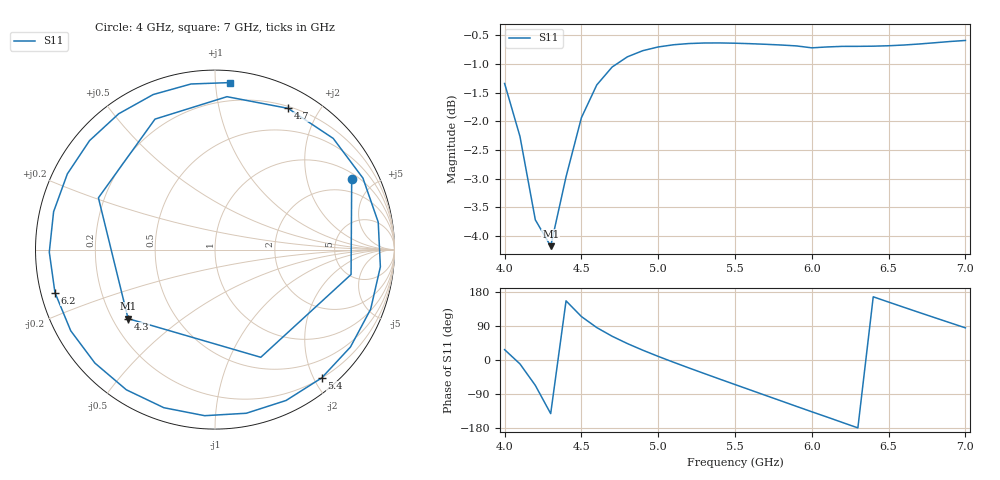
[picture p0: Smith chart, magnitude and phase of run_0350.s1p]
! Touchstone file exported from HFSS 2024.2.0
!  File:  C:/Users/wsak9/Desktop/Sim Fast/Widenad Patch/WP_AI_V1_sweep.aedt
!  Generated:  05:51:57 AM Oct 14, 2026
!  Design:  A1_model
!  Project:  WP_AI_V1_sweep
!  Setup:  Setup1
!  Solution:  Sweep
! Variables:
!  Air_gap = 2.29mm
!  Curve_Amp1 = 0.7
!  Curve_len1 = 1
!  Curve_pos = 13.36mm
!  Extra = 2.14mm
!  H_sub = 0.79mm
!  L_Patch = 22.72mm
!  L_Patch1 = 10.96mm
!  Sx = 4.49mm
!  Sy = 0.25mm
!  WS = 1.17mm
!  W_Patch = 22.59mm
!  W_Patch1 = 8.82mm
!Data is not renormalized
# GHz S MA
! Terminal data exported
! Port[1] = 1
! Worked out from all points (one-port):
!   31 points, 4 GHz to 7 GHz, reference per port
!   lowest |S11| = -4.2 dB at 4.3 GHz (marker M1), VSWR 4.24
!   |S11| at or under -10 dB: nowhere
!   S11 on the Smith chart (normalised r, x): 4 GHz: 1.26, +3.72; 4.3 GHz: 0.26, -0.33; 4.7 GHz: 0.22, +1.62; 5.4 GHz: 0.20, -2.11; 6.2 GHz: 0.04, -0.13; 7 GHz: 0.07, +1.09
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4  0.8571 27.3
4.1  0.7707 -10.4
4.2  0.652 -67.0
4.3  0.6184 -141.5
4.4  0.7108 156.0
4.5  0.8002 114.7
4.6  0.8546 85.5
4.7  0.8858 62.7
4.8  0.9042 43.2
4.9  0.9154 25.8
5  0.9222 9.6
5.1  0.9263 -5.9
5.2  0.9286 -21.0
5.3  0.9296 -35.7
5.4  0.9297 -50.3
5.5  0.9292 -64.8
5.6  0.9283 -79.2
5.7  0.9272 -93.6
5.8  0.9258 -107.9
5.9  0.9242 -122.3
6.1  0.9222 -150.6
6.2  0.9233 -165.0
6.3  0.9234 -179.1
6.4  0.9237 166.8
6.5  0.9245 152.8
6.7  0.9277 125.3
6.9  0.9324 98.2
7  0.9343 84.8
